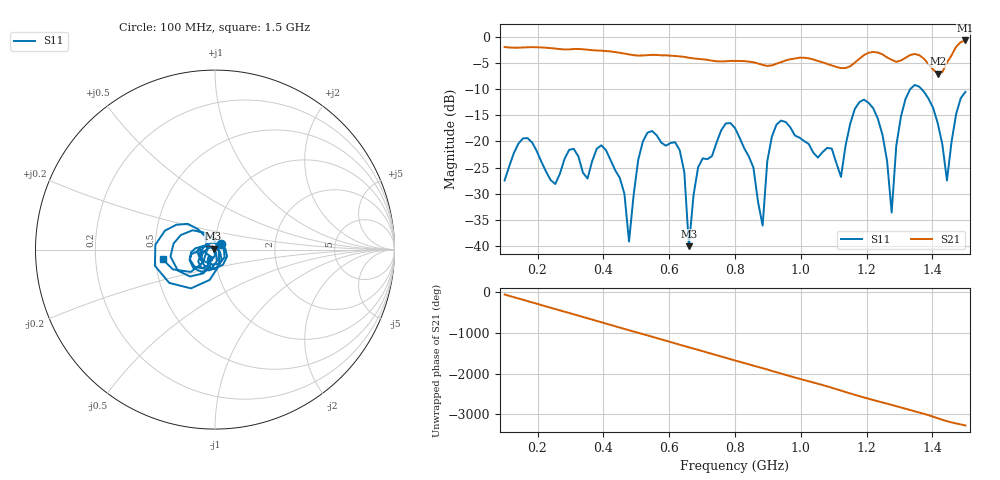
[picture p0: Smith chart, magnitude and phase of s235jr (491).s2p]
! NanoVNA-App
! Date: 2025-09-25 15:07:59
! Start: 100MHz Stop: 1,5GHz Points: 101
! S-Parameter data: F S11 S21 S12 S22
# Hz S RI R 50
!  Frequency  S11_Real  S11_Imag  S21_Real  S21_Imag  S12_Real  S12_Imag  S22_Real  S22_Imag
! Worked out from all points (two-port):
!   101 points, 100 MHz to 1.5 GHz, reference 50 ohm
!   highest |S21| = -0.70 dB at 1.5 GHz (marker M1); lowest = -7.0 dB at 1.416 GHz (marker M2)
!   |S21| within 3 dB of the highest: start of sweep to 624.6 MHz; 1.188 GHz to 1.256 GHz (68.33 MHz wide, 5.59 % of centre) (the widest 2 of 4)
!   lowest |S11| = -40.0 dB at 660 MHz (marker M3), VSWR 1.02, Z = 49.2 + j0.553 ohm
!   |S11| at or under -10 dB: start of sweep to 1.332 GHz; 1.367 GHz to end of sweep
!   S12 and S22 are empty: the file has one direction only
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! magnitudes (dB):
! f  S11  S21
! 100 MHz  -27.5  -2.0
! 156 MHz  -19.4  -2.0
! 338 MHz  -26.0  -2.4
! 408 MHz  -21.7  -2.7
! 478 MHz  -39.1  -3.4
! 520 MHz  -20.0  -3.6
! 576 MHz  -20.2  -3.5
! 632 MHz  -21.7  -3.7
! 660 MHz  -40.0  -4.0
! 688 MHz  -24.9  -4.2
! 800 MHz  -17.4  -4.6
! 884 MHz  -36.1  -5.4
! 926 MHz  -16.8  -5.1
! 1.038 GHz  -22.2  -4.3
! 1.122 GHz  -26.8  -6.0
! 1.206 GHz  -12.6  -3.1
! 1.276 GHz  -33.6  -4.4
! 1.29 GHz  -20.9  -4.8
! 1.332 GHz  -10.0  -3.5
! 1.416 GHz  -16.5  -7.0
! 1.444 GHz  -27.5  -4.9
! 1.5 GHz  -10.5  -0.7
